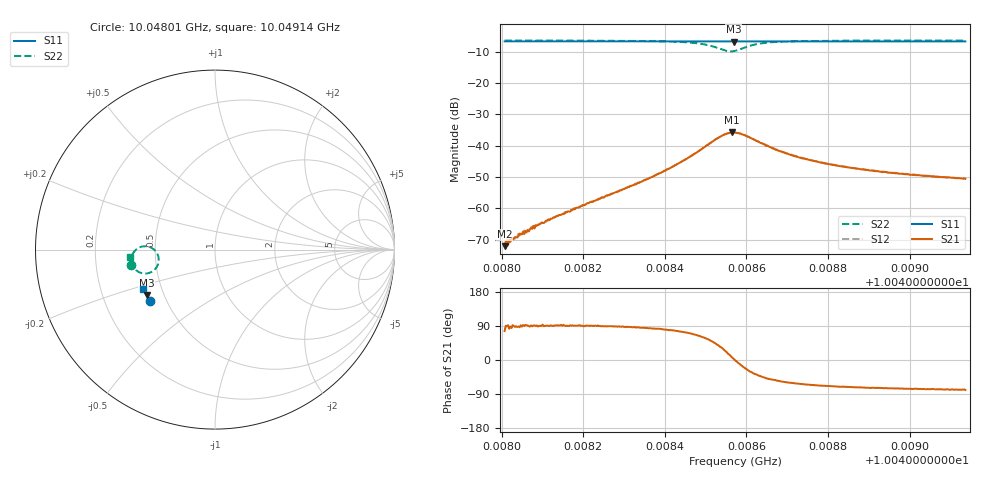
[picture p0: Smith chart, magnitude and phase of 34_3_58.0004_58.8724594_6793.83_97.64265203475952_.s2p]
#  HZ  S  RI  R  50.00
! Rohde & Schwarz Vector Network Analyzer
! Rohde-Schwarz,ZNB20-2Port,1311601062101988,3.16
! Created: UTC 3/21/2024, 12:51:49 AM
! freq[Hz]  re:S11  im:S11  re:S21  im:S21  re:S12  im:S12  re:S22  im:S22
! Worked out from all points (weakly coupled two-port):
!   401 points, 10.04801 GHz to 10.04914 GHz, reference 50 ohm
!   highest |S21| = -35.78 dB at 10.04856 GHz (marker M1); lowest = -72.0 dB at 10.04801 GHz (marker M2)
!   lowest |S11| = -6.8 dB at 10.04857 GHz (marker M3), VSWR 2.68, Z = 20.1 - j12.8 ohm
!   |S11| at or under -10 dB: nowhere
!   |S22| runs from -10.0 to -6.5 dB; largest |S21 - S12| = 0.0013
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1.0048007e10  -0.3612 -0.284  5.88e-05 0.000243  -6.85e-06 0.000292  -0.4665 -0.084
1.0048027e10  -0.362 -0.2829  -1.12e-05 0.000316  -1.62e-05 0.000338  -0.4667 -0.0822
1.0048041e10  -0.3625 -0.2821  1.02e-05 0.000363  -1.87e-05 0.000394  -0.4669 -0.0808
1.0048064e10  -0.3635 -0.281  -7.53e-06 0.000449  -2.06e-05 0.000456  -0.4672 -0.0786
1.0048081e10  -0.3641 -0.2799  -1.11e-05 0.000479  -2.91e-05 0.000526  -0.4672 -0.077
1.0048089e10  -0.3644 -0.2796  1.55e-05 0.000546  -3.91e-05 0.000539  -0.4672 -0.076
1.0048196e10  -0.3687 -0.2738  -9.6e-06 0.0011  -8.83e-05 0.00109  -0.4674 -0.0637
1.0048329e10  -0.3737 -0.2663  0.000186 0.0024  3.14e-05 0.00249  -0.4647 -0.0422
1.0048386e10  -0.3757 -0.263  0.000469 0.00358  0.0003 0.00359  -0.4602 -0.0283
1.0048451e10  -0.3779 -0.2592  0.00179 0.00574  0.00145 0.00587  -0.4445 -0.00473
1.0048516e10  -0.3799 -0.2551  0.00751 0.00869  0.00696 0.00912  -0.3854 0.0187
1.0048544e10  -0.3802 -0.2535  0.0131 0.00708  0.0127 0.00778  -0.3344 -0.00471
1.0048563e10  -0.3805 -0.2529  0.0161 0.00224  0.0158 0.00349  -0.3136 -0.0511
1.0048569e10  -0.3804 -0.2527  0.0161 0.00081  0.0161 0.00196  -0.3138 -0.0661
1.0048572e10  -0.3807 -0.2526  0.0161 -6.97e-05  0.0162 0.00114  -0.3151 -0.0737
1.0048603e10  -0.382 -0.2517  0.0125 -0.00622  0.0131 -0.00525  -0.3586 -0.1268
1.0048643e10  -0.384 -0.2496  0.00735 -0.00759  0.00785 -0.00708  -0.4116 -0.1302
1.0048699e10  -0.3862 -0.2463  0.00385 -0.00642  0.00432 -0.00621  -0.4444 -0.1106
1.0048761e10  -0.3885 -0.2428  0.00237 -0.00527  0.00271 -0.00519  -0.4578 -0.0932
1.0048851e10  -0.3917 -0.2376  0.00144 -0.00424  0.0017 -0.0042  -0.4655 -0.0757
1.004895e10  -0.3949 -0.2318  0.000964 -0.00357  0.00122 -0.00355  -0.4694 -0.0624
1.0049137e10  -0.4006 -0.2208  0.000566 -0.00291  0.000779 -0.00288  -0.4725 -0.0431
